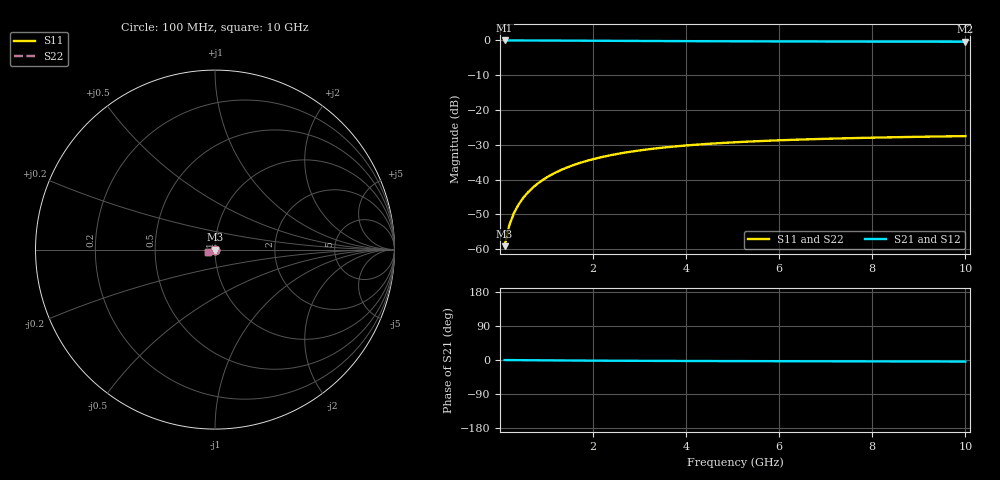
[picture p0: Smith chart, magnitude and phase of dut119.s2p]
! Touchstone file exported from HFSS 2024.1.0
!  File:  C:/UserFiles/LocalFiles/RDL_TSV_Batchsim/temp_TSV1_119_1778752994.aedt
!  Generated:  06:08:38 PM May 14, 2026
!  Design:  TSV1
!  Project:  temp_TSV1_119_1778752994
!  Setup:  Setup1
!  Solution:  Sweep
! Variables:
!  dtsv = 10.99um
!  hbump = 3um
!  htsv = 62.58um
!  lrdl = 252.1521522um
!  p = 40
!  p1 = 42.35um
!  t = 500um
!  trdl = 3um
!  wrdl = 24.89489489um
# GHz S MA R 50.000000
! Terminal data exported
! Port[1] = TSV22_T1
! Port[2] = TSV22_T2
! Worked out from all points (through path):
!   100 points, 100 MHz to 10 GHz, reference 50 ohm
!   highest |S21| = 0.00 dB at 100 MHz (marker M1); lowest = -0.4 dB at 10 GHz (marker M2)
!   lowest |S11| = -59.2 dB at 100 MHz (marker M3), VSWR 1.00, Z = 50 - j0.11 ohm
!   |S11| at or under -10 dB: start of sweep to end of sweep
!   |S22| runs from -59.2 to -27.5 dB; largest |S21 - S12| = 1.2e-15
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0.1  0.001103 -86.0  0.9999 -0.1  0.9999 -0.1  0.001103 -86.0
! Gamma 0 0 0 0
! Port Impedance 50 0 50 0
0.2  0.002197 -90.4  0.9998 -0.2  0.9998 -0.2  0.002197 -90.4
0.3  0.00329 -92.9  0.9996 -0.3  0.9996 -0.3  0.00329 -92.9
0.4  0.00438 -94.9  0.9994 -0.4  0.9994 -0.4  0.00438 -94.9
0.5  0.005462 -96.7  0.9991 -0.5  0.9991 -0.5  0.005462 -96.7
0.6  0.006536 -98.4  0.9988 -0.6  0.9988 -0.6  0.006536 -98.4
0.7  0.007597 -100.0  0.9984 -0.7  0.9984 -0.7  0.007597 -100.0
0.8  0.008644 -101.6  0.998 -0.8  0.998 -0.8  0.008644 -101.6
0.9  0.009675 -103.1  0.9975 -0.9  0.9975 -0.9  0.009675 -103.1
1.1  0.01168 -106.0  0.9964 -1.0  0.9964 -1.0  0.01168 -106.0
1.4  0.01454 -110.2  0.9946 -1.3  0.9946 -1.3  0.01454 -110.2
1.6  0.01633 -112.9  0.9932 -1.4  0.9932 -1.4  0.01633 -112.9
1.8  0.01803 -115.5  0.9919 -1.6  0.9919 -1.6  0.01803 -115.5
2.1  0.02039 -119.1  0.9897 -1.7  0.9897 -1.7  0.02039 -119.1
2.5  0.02321 -123.6  0.9868 -2.0  0.9868 -2.0  0.02321 -123.6
2.9  0.02567 -127.7  0.9841 -2.2  0.9841 -2.2  0.02567 -127.7
3.4  0.0283 -132.2  0.9808 -2.4  0.9808 -2.4  0.0283 -132.2
4.2  0.03166 -138.5  0.9761 -2.7  0.9761 -2.7  0.03166 -138.5
5.1  0.03451 -144.2  0.9717 -2.9  0.9717 -2.9  0.03451 -144.2
6.7  0.03803 -152.2  0.9659 -3.3  0.9659 -3.3  0.03803 -152.2
8.4  0.04051 -158.6  0.9617 -3.7  0.9617 -3.7  0.04051 -158.6
10  0.04214 -163.5  0.9588 -4.1  0.9588 -4.1  0.04214 -163.5
